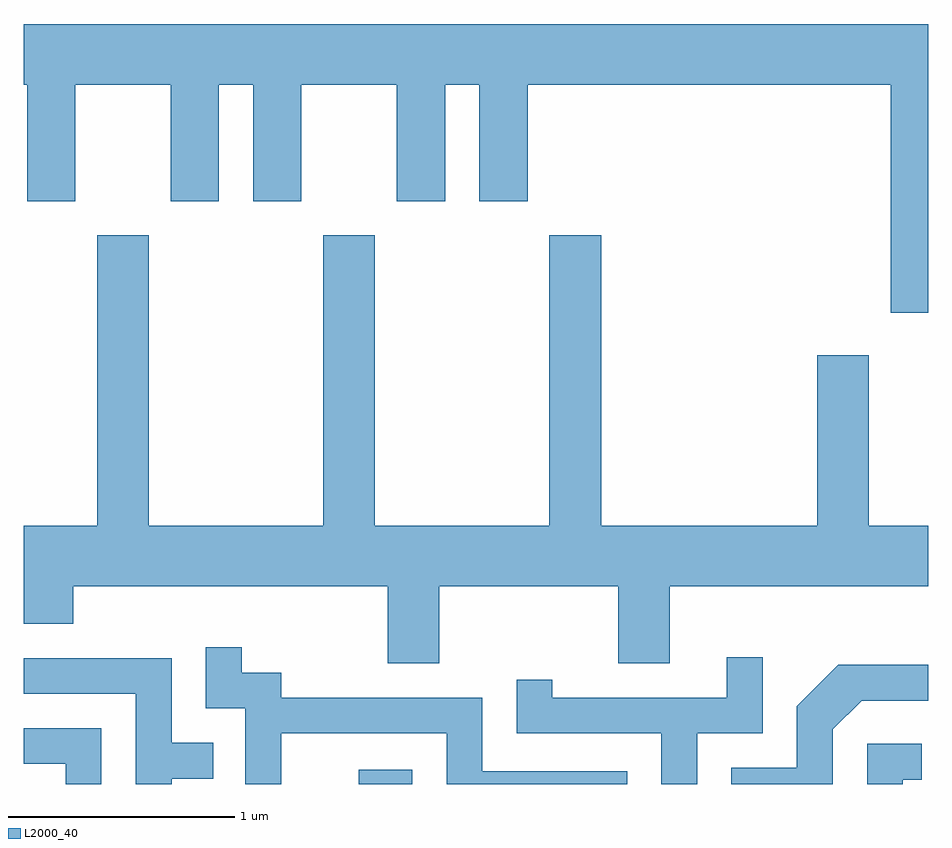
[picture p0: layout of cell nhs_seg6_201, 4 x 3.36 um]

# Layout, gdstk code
import gdstk
lib = gdstk.Library(unit=1e-6, precision=1e-09)
def R(c, l, rs):  # rectangles x0, y0, x1, y1
    for r in rs: c.add(gdstk.rectangle(r[:2], r[2:], *l))
def P(c, l, *ps):  # polygons
    for p in ps: c.add(gdstk.Polygon(p, *l))
L2000_40 = (2000, 40)

nhs_seg6_201 = lib.new_cell('nhs_seg6_201')
R(nhs_seg6_201, L2000_40, [(191.093,1660.162,191.329,1660.224)])
P(nhs_seg6_201, L2000_40, [(193.611,1663.524),(189.611,1663.524),(189.611,1663.256),(189.626,1663.256),(189.626,1662.741),(189.839,1662.741),(189.839,1663.256),(190.261,1663.256),(190.261,1662.741),(190.474,1662.741),(190.474,1663.256),(190.626,1663.256),(190.626,1662.741),(190.839,1662.741),(190.839,1663.256),(191.261,1663.256),(191.261,1662.741),(191.474,1662.741),(191.474,1663.256),(191.626,1663.256),(191.626,1662.741),(191.839,1662.741),(191.839,1663.256),(193.446,1663.256),(193.446,1662.246),(193.611,1662.246)],
  [(191.449,1661.036),(192.241,1661.036),(192.241,1660.696),(192.469,1660.696),(192.469,1661.036),(193.611,1661.036),(193.611,1661.304),(193.349,1661.304),(193.349,1662.059),(193.121,1662.059),(193.121,1661.304),(192.164,1661.304),(192.164,1662.589),(191.936,1662.589),(191.936,1661.304),(191.164,1661.304),(191.164,1662.589),(190.936,1662.589),(190.936,1661.304),(190.164,1661.304),(190.164,1662.589),(189.936,1662.589),(189.936,1661.304),(189.611,1661.304),(189.611,1660.871),(189.829,1660.871),(189.829,1661.036),(191.221,1661.036),(191.221,1660.696),(191.449,1660.696)],
  [(190.749,1660.386),(191.481,1660.386),(191.481,1660.162),(192.279,1660.162),(192.279,1660.219),(191.639,1660.219),(191.639,1660.544),(190.749,1660.544),(190.749,1660.654),(190.574,1660.654),(190.574,1660.768),(190.416,1660.768),(190.416,1660.496),(190.591,1660.496),(190.591,1660.162),(190.749,1660.162)],
  [(192.589,1660.386),(192.879,1660.386),(192.879,1660.723),(192.721,1660.723),(192.721,1660.544),(191.949,1660.544),(191.949,1660.623),(191.791,1660.623),(191.791,1660.386),(192.431,1660.386),(192.431,1660.162),(192.589,1660.162)],
  [(190.264,1660.186),(190.448,1660.186),(190.448,1660.344),(190.264,1660.344),(190.264,1660.719),(189.611,1660.719),(189.611,1660.561),(190.106,1660.561),(190.106,1660.162),(190.264,1660.162)],
  [(193.189,1660.404),(193.317,1660.531),(193.611,1660.531),(193.611,1660.689),(193.214,1660.689),(193.031,1660.507),(193.031,1660.234),(192.741,1660.234),(192.741,1660.162),(193.189,1660.162)],
  [(189.954,1660.409),(189.611,1660.409),(189.611,1660.251),(189.796,1660.251),(189.796,1660.162),(189.954,1660.162)],
  [(193.499,1660.181),(193.583,1660.181),(193.583,1660.339),(193.341,1660.339),(193.341,1660.162),(193.499,1660.162)])

lib.write_gds('nhs_seg6_201.gds')
